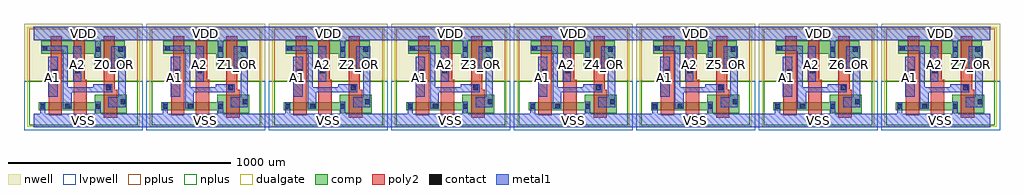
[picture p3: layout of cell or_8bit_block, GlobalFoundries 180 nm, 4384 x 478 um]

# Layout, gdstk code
import gdstk
lib = gdstk.Library(unit=1e-6, precision=1e-07)
def R(c, l, rs):  # rectangles x0, y0, x1, y1
    for r in rs: c.add(gdstk.rectangle(r[:2], r[2:], *l))
def A(c, l, x, y, w, h, nx, ny, dx, dy):  # array of equal rectangles
    R(c, l, [(x+i*dx, y+j*dy, x+i*dx+w, y+j*dy+h) for i in range(nx) for j in range(ny)])
def P(c, l, *ps):  # polygons
    for p in ps: c.add(gdstk.Polygon(p, *l))
nwell = (21, 0)
comp = (22, 0)
poly2 = (30, 0)
pplus = (31, 0)
nplus = (32, 0)
contact = (33, 0)
metal1 = (34, 0)
dualgate = (55, 0)
lvpwell = (204, 0)

or_8bit_block = lib.new_cell('or_8bit_block')
A(or_8bit_block, nwell, -43, -824, 534, 259, 8, 1, 550, 0)
P(or_8bit_block, comp, [(275.5,-966),(275.5,-953.5),(23.5,-953.5),(23.5,-917.5),(275.5,-917.5),(275.5,-884),(419.5,-884),(419.5,-966)],
  [(825.5,-966),(825.5,-953.5),(573.5,-953.5),(573.5,-917.5),(825.5,-917.5),(825.5,-884),(969.5,-884),(969.5,-966)],
  [(821.5,-764),(821.5,-698.5),(583.5,-698.5),(583.5,-642),(959.5,-642),(959.5,-764)],
  [(1375.5,-966),(1375.5,-953.5),(1123.5,-953.5),(1123.5,-917.5),(1375.5,-917.5),(1375.5,-884),(1519.5,-884),(1519.5,-966)],
  [(1371.5,-764),(1371.5,-698.5),(1133.5,-698.5),(1133.5,-642),(1509.5,-642),(1509.5,-764)],
  [(1925.5,-966),(1925.5,-953.5),(1673.5,-953.5),(1673.5,-917.5),(1925.5,-917.5),(1925.5,-884),(2069.5,-884),(2069.5,-966)],
  [(1921.5,-764),(1921.5,-698.5),(1683.5,-698.5),(1683.5,-642),(2059.5,-642),(2059.5,-764)],
  [(271.5,-764),(271.5,-698.5),(33.5,-698.5),(33.5,-642),(409.5,-642),(409.5,-764)],
  [(2475.5,-966),(2475.5,-953.5),(2223.5,-953.5),(2223.5,-917.5),(2475.5,-917.5),(2475.5,-884),(2619.5,-884),(2619.5,-966)],
  [(3025.5,-966),(3025.5,-953.5),(2773.5,-953.5),(2773.5,-917.5),(3025.5,-917.5),(3025.5,-884),(3169.5,-884),(3169.5,-966)],
  [(3021.5,-764),(3021.5,-698.5),(2783.5,-698.5),(2783.5,-642),(3159.5,-642),(3159.5,-764)],
  [(3575.5,-966),(3575.5,-953.5),(3323.5,-953.5),(3323.5,-917.5),(3575.5,-917.5),(3575.5,-884),(3719.5,-884),(3719.5,-966)],
  [(3571.5,-764),(3571.5,-698.5),(3333.5,-698.5),(3333.5,-642),(3709.5,-642),(3709.5,-764)],
  [(4125.5,-966),(4125.5,-953.5),(3873.5,-953.5),(3873.5,-917.5),(4125.5,-917.5),(4125.5,-884),(4269.5,-884),(4269.5,-966)],
  [(4121.5,-764),(4121.5,-698.5),(3883.5,-698.5),(3883.5,-642),(4259.5,-642),(4259.5,-764)],
  [(2471.5,-764),(2471.5,-698.5),(2233.5,-698.5),(2233.5,-642),(2609.5,-642),(2609.5,-764)])
P(or_8bit_block, poly2, [(67.5,-976),(67.5,-815.5),(77.5,-815.5),(77.5,-620),(127.5,-620),(127.5,-976)],
  [(179.5,-976),(179.5,-620),(229.5,-620),(229.5,-815.5),(239.5,-815.5),(239.5,-976)],
  [(315.5,-988),(315.5,-620),(365.5,-620),(365.5,-862),(375.5,-862),(375.5,-988)],
  [(617.5,-976),(617.5,-815.5),(627.5,-815.5),(627.5,-620),(677.5,-620),(677.5,-976)],
  [(729.5,-976),(729.5,-620),(779.5,-620),(779.5,-815.5),(789.5,-815.5),(789.5,-976)],
  [(865.5,-988),(865.5,-620),(915.5,-620),(915.5,-862),(925.5,-862),(925.5,-988)],
  [(1167.5,-976),(1167.5,-815.5),(1177.5,-815.5),(1177.5,-620),(1227.5,-620),(1227.5,-976)],
  [(1279.5,-976),(1279.5,-620),(1329.5,-620),(1329.5,-815.5),(1339.5,-815.5),(1339.5,-976)],
  [(1415.5,-988),(1415.5,-620),(1465.5,-620),(1465.5,-862),(1475.5,-862),(1475.5,-988)],
  [(1717.5,-976),(1717.5,-815.5),(1727.5,-815.5),(1727.5,-620),(1777.5,-620),(1777.5,-976)],
  [(1829.5,-976),(1829.5,-620),(1879.5,-620),(1879.5,-815.5),(1889.5,-815.5),(1889.5,-976)],
  [(1965.5,-988),(1965.5,-620),(2015.5,-620),(2015.5,-862),(2025.5,-862),(2025.5,-988)],
  [(2267.5,-976),(2267.5,-815.5),(2277.5,-815.5),(2277.5,-620),(2327.5,-620),(2327.5,-976)],
  [(2379.5,-976),(2379.5,-620),(2429.5,-620),(2429.5,-815.5),(2439.5,-815.5),(2439.5,-976)],
  [(2515.5,-988),(2515.5,-620),(2565.5,-620),(2565.5,-862),(2575.5,-862),(2575.5,-988)],
  [(2817.5,-976),(2817.5,-815.5),(2827.5,-815.5),(2827.5,-620),(2877.5,-620),(2877.5,-976)],
  [(2929.5,-976),(2929.5,-620),(2979.5,-620),(2979.5,-815.5),(2989.5,-815.5),(2989.5,-976)],
  [(3065.5,-988),(3065.5,-620),(3115.5,-620),(3115.5,-862),(3125.5,-862),(3125.5,-988)],
  [(3367.5,-976),(3367.5,-815.5),(3377.5,-815.5),(3377.5,-620),(3427.5,-620),(3427.5,-976)],
  [(3479.5,-976),(3479.5,-620),(3529.5,-620),(3529.5,-815.5),(3539.5,-815.5),(3539.5,-976)],
  [(3615.5,-988),(3615.5,-620),(3665.5,-620),(3665.5,-862),(3675.5,-862),(3675.5,-988)],
  [(3917.5,-976),(3917.5,-815.5),(3927.5,-815.5),(3927.5,-620),(3977.5,-620),(3977.5,-976)],
  [(4029.5,-976),(4029.5,-620),(4079.5,-620),(4079.5,-815.5),(4089.5,-815.5),(4089.5,-976)],
  [(4165.5,-988),(4165.5,-620),(4215.5,-620),(4215.5,-862),(4225.5,-862),(4225.5,-988)])
A(or_8bit_block, pplus, -20, -824, 488, 236, 8, 1, 550, 0)
A(or_8bit_block, nplus, -20, -1020, 488, 196, 8, 1, 550, 0)
A(or_8bit_block, contact, 278.5, -947, 22, 22, 8, 1, 550, 0)
A(or_8bit_block, contact, 390.5, -926.5, 22, 22, 8, 1, 550, 0)
A(or_8bit_block, contact, 325.5, -864, 22, 22, 8, 1, 550, 0)
A(or_8bit_block, contact, 84.5, -790.5, 22, 22, 8, 1, 550, 0)
A(or_8bit_block, contact, 186.5, -786.5, 22, 22, 8, 1, 550, 0)
A(or_8bit_block, contact, 40.5, -686.5, 22, 22, 8, 1, 550, 0)
R(or_8bit_block, contact, [(30.5,-946.5,52.5,-924.5), (142.5,-946.5,164.5,-924.5), (580.5,-946.5,602.5,-924.5), (692.5,-946.5,714.5,-924.5), (1130.5,-946.5,1152.5,-924.5), (1242.5,-946.5,1264.5,-924.5), (1680.5,-946.5,1702.5,-924.5), (1792.5,-946.5,1814.5,-924.5), (2230.5,-946.5,2252.5,-924.5), (2342.5,-946.5,2364.5,-924.5), (2780.5,-946.5,2802.5,-924.5), (2892.5,-946.5,2914.5,-924.5), (3330.5,-946.5,3352.5,-924.5), (3442.5,-946.5,3464.5,-924.5), (3880.5,-946.5,3902.5,-924.5), (3992.5,-946.5,4014.5,-924.5), (278.5,-737,300.5,-715), (380.5,-737,402.5,-715), (828.5,-737,850.5,-715), (930.5,-737,952.5,-715), (1378.5,-737,1400.5,-715), (1480.5,-737,1502.5,-715), (1928.5,-737,1950.5,-715), (2030.5,-737,2052.5,-715), (2478.5,-737,2500.5,-715), (2580.5,-737,2602.5,-715), (3028.5,-737,3050.5,-715), (3130.5,-737,3152.5,-715), (3578.5,-737,3600.5,-715), (3680.5,-737,3702.5,-715), (4128.5,-737,4150.5,-715), (4230.5,-737,4252.5,-715), (278.5,-690,300.5,-668), (380.5,-690,402.5,-668), (828.5,-690,850.5,-668), (930.5,-690,952.5,-668), (1378.5,-690,1400.5,-668), (1480.5,-690,1502.5,-668), (1928.5,-690,1950.5,-668), (2030.5,-690,2052.5,-668), (2478.5,-690,2500.5,-668), (2580.5,-690,2602.5,-668), (3028.5,-690,3050.5,-668), (3130.5,-690,3152.5,-668), (3578.5,-690,3600.5,-668), (3680.5,-690,3702.5,-668), (4128.5,-690,4150.5,-668), (4230.5,-690,4252.5,-668)])
A(or_8bit_block, metal1, 66, -892.5, 42, 180.5, 8, 1, 550, 0)
A(or_8bit_block, metal1, 178, -826, 36, 160.5, 8, 1, 550, 0)
P(or_8bit_block, metal1, [(278,-747),(278,-638),(0,-638),(0,-578),(4298,-578),(4298,-638),(4151,-638),(4151,-747),(4128,-747),(4128,-638),(3601,-638),(3601,-747),(3578,-747),(3578,-638),(3051,-638),(3051,-747),(3028,-747),(3028,-638),(2501,-638),(2501,-747),(2478,-747),(2478,-638),(1951,-638),(1951,-747),(1928,-747),(1928,-638),(1401,-638),(1401,-747),(1378,-747),(1378,-638),(851,-638),(851,-747),(828,-747),(828,-638),(301,-638),(301,-747)],
  [(0,-1030),(0,-970),(30,-970),(30,-917.5),(53,-917.5),(53,-970),(278,-970),(278,-915),(301,-915),(301,-970),(580,-970),(580,-917.5),(603,-917.5),(603,-970),(828,-970),(828,-915),(851,-915),(851,-970),(1130,-970),(1130,-917.5),(1153,-917.5),(1153,-970),(1378,-970),(1378,-915),(1401,-915),(1401,-970),(1680,-970),(1680,-917.5),(1703,-917.5),(1703,-970),(1928,-970),(1928,-915),(1951,-915),(1951,-970),(2230,-970),(2230,-917.5),(2253,-917.5),(2253,-970),(2478,-970),(2478,-915),(2501,-915),(2501,-970),(2780,-970),(2780,-917.5),(2803,-917.5),(2803,-970),(3028,-970),(3028,-915),(3051,-915),(3051,-970),(3330,-970),(3330,-917.5),(3353,-917.5),(3353,-970),(3578,-970),(3578,-915),(3601,-915),(3601,-970),(3880,-970),(3880,-917.5),(3903,-917.5),(3903,-970),(4128,-970),(4128,-915),(4151,-915),(4151,-970),(4298,-970),(4298,-1030)],
  [(131,-947),(131,-687),(33.5,-687),(33.5,-664),(154,-664),(154,-849),(268,-849),(268,-836),(353.5,-836),(353.5,-872),(170.5,-872),(170.5,-947)],
  [(336.5,-939),(336.5,-896),(380,-896),(380,-771),(350,-771),(350,-665.5),(413,-665.5),(413,-939)],
  [(681,-947),(681,-687),(583.5,-687),(583.5,-664),(704,-664),(704,-849),(818,-849),(818,-836),(903.5,-836),(903.5,-872),(720.5,-872),(720.5,-947)],
  [(886.5,-939),(886.5,-896),(930,-896),(930,-771),(900,-771),(900,-665.5),(963,-665.5),(963,-939)],
  [(1231,-947),(1231,-687),(1133.5,-687),(1133.5,-664),(1254,-664),(1254,-849),(1368,-849),(1368,-836),(1453.5,-836),(1453.5,-872),(1270.5,-872),(1270.5,-947)],
  [(1436.5,-939),(1436.5,-896),(1480,-896),(1480,-771),(1450,-771),(1450,-665.5),(1513,-665.5),(1513,-939)],
  [(1781,-947),(1781,-687),(1683.5,-687),(1683.5,-664),(1804,-664),(1804,-849),(1918,-849),(1918,-836),(2003.5,-836),(2003.5,-872),(1820.5,-872),(1820.5,-947)],
  [(1986.5,-939),(1986.5,-896),(2030,-896),(2030,-771),(2000,-771),(2000,-665.5),(2063,-665.5),(2063,-939)],
  [(2331,-947),(2331,-687),(2233.5,-687),(2233.5,-664),(2354,-664),(2354,-849),(2468,-849),(2468,-836),(2553.5,-836),(2553.5,-872),(2370.5,-872),(2370.5,-947)],
  [(2536.5,-939),(2536.5,-896),(2580,-896),(2580,-771),(2550,-771),(2550,-665.5),(2613,-665.5),(2613,-939)],
  [(2881,-947),(2881,-687),(2783.5,-687),(2783.5,-664),(2904,-664),(2904,-849),(3018,-849),(3018,-836),(3103.5,-836),(3103.5,-872),(2920.5,-872),(2920.5,-947)],
  [(3086.5,-939),(3086.5,-896),(3130,-896),(3130,-771),(3100,-771),(3100,-665.5),(3163,-665.5),(3163,-939)],
  [(3431,-947),(3431,-687),(3333.5,-687),(3333.5,-664),(3454,-664),(3454,-849),(3568,-849),(3568,-836),(3653.5,-836),(3653.5,-872),(3470.5,-872),(3470.5,-947)],
  [(3636.5,-939),(3636.5,-896),(3680,-896),(3680,-771),(3650,-771),(3650,-665.5),(3713,-665.5),(3713,-939)],
  [(3981,-947),(3981,-687),(3883.5,-687),(3883.5,-664),(4004,-664),(4004,-849),(4118,-849),(4118,-836),(4203.5,-836),(4203.5,-872),(4020.5,-872),(4020.5,-947)],
  [(4186.5,-939),(4186.5,-896),(4230,-896),(4230,-771),(4200,-771),(4200,-665.5),(4263,-665.5),(4263,-939)])
A(or_8bit_block, dualgate, -28, -1028, 504, 448, 8, 1, 550, 0)
A(or_8bit_block, lvpwell, -43, -1043, 534, 219, 8, 1, 550, 0)
or_8bit_block.add(gdstk.Label('Z0_OR', (364,-748), layer=34, texttype=10))
or_8bit_block.add(gdstk.Label('Z1_OR', (914,-748), layer=34, texttype=10))
or_8bit_block.add(gdstk.Label('Z2_OR', (1464,-748), layer=34, texttype=10))
or_8bit_block.add(gdstk.Label('Z3_OR', (2014,-748), layer=34, texttype=10))
or_8bit_block.add(gdstk.Label('Z4_OR', (2564,-748), layer=34, texttype=10))
or_8bit_block.add(gdstk.Label('Z5_OR', (3114,-748), layer=34, texttype=10))
or_8bit_block.add(gdstk.Label('Z6_OR', (3664,-748), layer=34, texttype=10))
or_8bit_block.add(gdstk.Label('Z7_OR', (4214,-748), layer=34, texttype=10))
or_8bit_block.add(gdstk.Label('VDD', (2424,-607.5), layer=34, texttype=10))
or_8bit_block.add(gdstk.Label('A1', (2284,-804), layer=34, texttype=10))
or_8bit_block.add(gdstk.Label('A2', (2396,-748), layer=34, texttype=10))
or_8bit_block.add(gdstk.Label('VDD', (2974,-607.5), layer=34, texttype=10))
or_8bit_block.add(gdstk.Label('A1', (2834,-804), layer=34, texttype=10))
or_8bit_block.add(gdstk.Label('A2', (2946,-748), layer=34, texttype=10))
or_8bit_block.add(gdstk.Label('VDD', (3524,-607.5), layer=34, texttype=10))
or_8bit_block.add(gdstk.Label('A1', (3384,-804), layer=34, texttype=10))
or_8bit_block.add(gdstk.Label('A2', (3496,-748), layer=34, texttype=10))
or_8bit_block.add(gdstk.Label('VDD', (4074,-607.5), layer=34, texttype=10))
or_8bit_block.add(gdstk.Label('A1', (3934,-804), layer=34, texttype=10))
or_8bit_block.add(gdstk.Label('A2', (4046,-748), layer=34, texttype=10))
or_8bit_block.add(gdstk.Label('A1', (84,-804), layer=34, texttype=10))
or_8bit_block.add(gdstk.Label('A2', (196,-748), layer=34, texttype=10))
or_8bit_block.add(gdstk.Label('VDD', (774,-607.5), layer=34, texttype=10))
or_8bit_block.add(gdstk.Label('A1', (634,-804), layer=34, texttype=10))
or_8bit_block.add(gdstk.Label('A2', (746,-748), layer=34, texttype=10))
or_8bit_block.add(gdstk.Label('VDD', (1324,-607.5), layer=34, texttype=10))
or_8bit_block.add(gdstk.Label('A1', (1184,-804), layer=34, texttype=10))
or_8bit_block.add(gdstk.Label('A2', (1296,-748), layer=34, texttype=10))
or_8bit_block.add(gdstk.Label('VDD', (1874,-607.5), layer=34, texttype=10))
or_8bit_block.add(gdstk.Label('A1', (1734,-804), layer=34, texttype=10))
or_8bit_block.add(gdstk.Label('A2', (1846,-748), layer=34, texttype=10))
or_8bit_block.add(gdstk.Label('VDD', (224,-607.5), layer=34, texttype=10))
or_8bit_block.add(gdstk.Label('VSS', (1874,-1001), layer=34, texttype=10))
or_8bit_block.add(gdstk.Label('VSS', (774,-1001), layer=34, texttype=10))
or_8bit_block.add(gdstk.Label('VSS', (1324,-1001), layer=34, texttype=10))
or_8bit_block.add(gdstk.Label('VSS', (224,-1001), layer=34, texttype=10))
or_8bit_block.add(gdstk.Label('VSS', (4074,-1001), layer=34, texttype=10))
or_8bit_block.add(gdstk.Label('VSS', (2974,-1001), layer=34, texttype=10))
or_8bit_block.add(gdstk.Label('VSS', (3524,-1001), layer=34, texttype=10))
or_8bit_block.add(gdstk.Label('VSS', (2424,-1001), layer=34, texttype=10))

lib.write_gds('or_8bit_block.gds')
